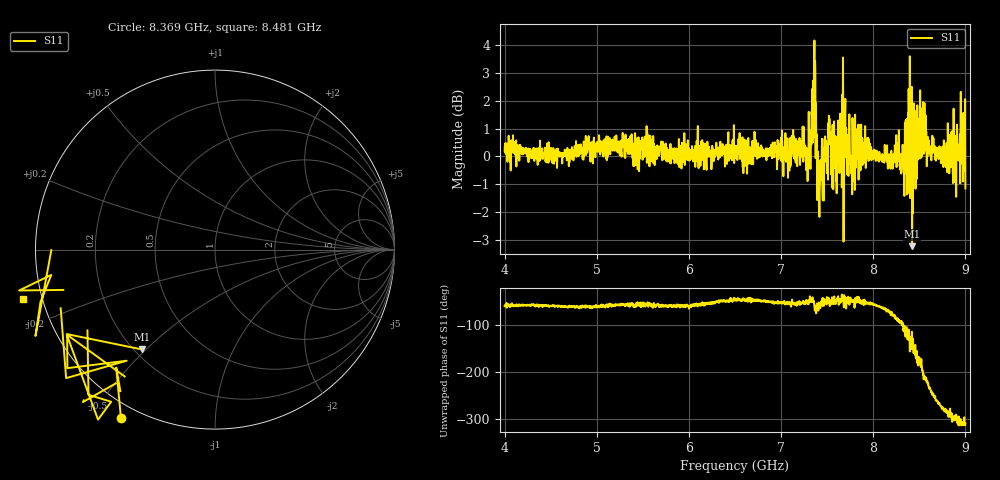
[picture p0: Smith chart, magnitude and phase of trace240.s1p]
! Created with skrf 1.8.0 (http://scikit-rf.org).
# Hz S RI R 50.0
!freq ReS11 ImS11
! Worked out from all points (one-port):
!   1601 points, 4 GHz to 9 GHz, reference 50 ohm
!   lowest |S11| = -3.2 dB at 8.422 GHz (marker M1), VSWR 5.44, Z = 11.5 - j24.3 ohm
!   |S11| at or under -10 dB: nowhere
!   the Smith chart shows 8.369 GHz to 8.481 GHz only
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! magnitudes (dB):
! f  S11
! 4 GHz  0.2
! 4.625 GHz  -0.3
! 5.25 GHz  0.0
! 5.875 GHz  0.3
! 6.5 GHz  0.1
! 7.125 GHz  0.1
! 7.297 GHz  -0.2
! 7.356 GHz  2.7
! 7.381 GHz  0.8
! 7.4 GHz  0.2
! 7.416 GHz  -2.2
! 7.538 GHz  0.7
! 7.578 GHz  0.2
! 7.65 GHz  1.3
! 7.75 GHz  -0.3
! 7.775 GHz  1.4
! 7.844 GHz  0.6
! 8.097 GHz  0.1
! 8.259 GHz  -0.3
! 8.316 GHz  -0.4
! 8.375 GHz  -0.5
! 8.422 GHz  -3.2
! 8.519 GHz  1.5
! 8.606 GHz  0.4
! 8.781 GHz  0.3
! 8.881 GHz  -0.9
! 8.972 GHz  0.4
! 9 GHz  -1.2
